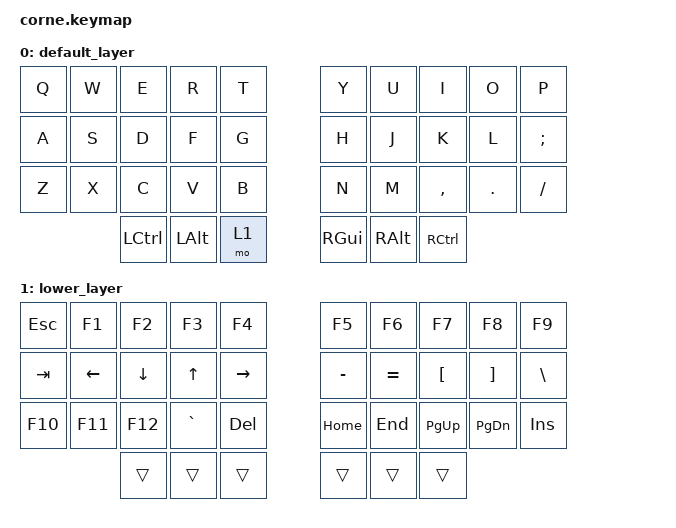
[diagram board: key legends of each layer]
#include <behaviors.dtsi>
#include <dt-bindings/zmk/keys.h>
#include <dt-bindings/zmk/modifiers.h>

/ {
    keymap {
        compatible = "zmk,keymap";

        default_layer {
            bindings = <
// |--------+--------+--------+--------+--------+--------|   |--------+--------+--------+--------+--------+--------|
     &kp Q    &kp W    &kp E    &kp R    &kp T        &kp Y    &kp U    &kp I    &kp O    &kp P
// |--------+--------+--------+--------+--------+--------|   |--------+--------+--------+--------+--------+--------|
     &kp A    &kp S    &kp D    &kp F    &kp G        &kp H    &kp J    &kp K    &kp L    &kp SEMI
// |--------+--------+--------+--------+--------+--------|   |--------+--------+--------+--------+--------+--------|
     &kp Z    &kp X    &kp C    &kp V    &kp B        &kp N    &kp M    &kp COMMA &kp DOT &kp SLASH
//                          |--------+--------+--------|   |--------+--------+--------|
                                &kp LCTRL &kp LALT &mo 1       &kp RGUI &kp RALT &kp RCTRL
//                          |--------+--------+--------|   |--------+--------+--------|
            >;
        };

        lower_layer {
            bindings = <
// |--------+--------+--------+--------+--------+--------|   |--------+--------+--------+--------+--------+--------|
     &kp ESC    &kp F1    &kp F2    &kp F3    &kp F4        &kp F5    &kp F6    &kp F7    &kp F8    &kp F9
// |--------+--------+--------+--------+--------+--------|   |--------+--------+--------+--------+--------+--------|
     &kp TAB    &kp LEFT  &kp DOWN  &kp UP    &kp RIGHT     &kp MINUS &kp EQUAL &kp LBKT  &kp RBKT  &kp BSLH
// |--------+--------+--------+--------+--------+--------|   |--------+--------+--------+--------+--------+--------|
     &kp F10    &kp F11   &kp F12   &kp GRAVE &kp DEL       &kp HOME  &kp END   &kp PG_UP &kp PG_DN &kp INS
//                          |--------+--------+--------|   |--------+--------+--------|
                                &trans    &trans   &trans       &trans    &trans    &trans
//                          |--------+--------+--------|   |--------+--------+--------|
            >;
        };
    };
};
